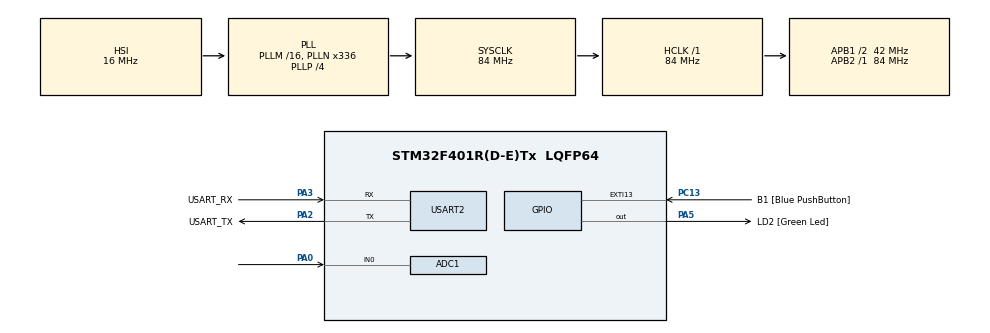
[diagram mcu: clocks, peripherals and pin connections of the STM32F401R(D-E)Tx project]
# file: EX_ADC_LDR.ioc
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ADC1.Channel-0\#ChannelRegularConversion=ADC_CHANNEL_0
ADC1.DMAContinuousRequests=ENABLE
ADC1.ExternalTrigConv=ADC_EXTERNALTRIGCONV_T2_TRGO
ADC1.NbrOfConversionFlag=1
ADC1.Rank-0\#ChannelRegularConversion=1
ADC1.SamplingTime-0\#ChannelRegularConversion=ADC_SAMPLETIME_480CYCLES
ADC1.master=1
Dma.ADC1.0.Direction=DMA_PERIPH_TO_MEMORY
Dma.ADC1.0.FIFOMode=DMA_FIFOMODE_DISABLE
Dma.ADC1.0.Instance=DMA2_Stream0
Dma.ADC1.0.MemDataAlignment=DMA_MDATAALIGN_WORD
Dma.ADC1.0.MemInc=DMA_MINC_ENABLE
Dma.ADC1.0.Mode=DMA_CIRCULAR
Dma.ADC1.0.PeriphDataAlignment=DMA_PDATAALIGN_WORD
Dma.ADC1.0.PeriphInc=DMA_PINC_DISABLE
Dma.ADC1.0.Priority=DMA_PRIORITY_LOW
Dma.Request0=ADC1
Mcu.Family=STM32F4
Mcu.Name=STM32F401R(D-E)Tx
Mcu.Package=LQFP64
NVIC.ADC_IRQn=true\:0\:0\:false\:false\:true\:true\:true
NVIC.DMA2_Stream0_IRQn=true\:0\:0\:false\:false\:true\:false\:true
NVIC.PriorityGroup=NVIC_PRIORITYGROUP_0
PA0-WKUP.Signal=ADCx_IN0
PA13.GPIO_Label=TMS
PA13.Mode=Serial_Wire
PA13.Signal=SYS_JTMS-SWDIO
PA14.GPIO_Label=TCK
PA14.Mode=Serial_Wire
PA14.Signal=SYS_JTCK-SWCLK
PA2.GPIO_Label=USART_TX
PA2.GPIO_Mode=GPIO_MODE_AF_PP
PA2.GPIO_PuPd=GPIO_NOPULL
PA2.GPIO_Speed=GPIO_SPEED_FREQ_LOW
PA2.Mode=Asynchronous
PA2.Signal=USART2_TX
PA3.GPIO_Label=USART_RX
PA3.GPIO_Mode=GPIO_MODE_AF_PP
PA3.GPIO_PuPd=GPIO_NOPULL
PA3.GPIO_Speed=GPIO_SPEED_FREQ_LOW
PA3.Mode=Asynchronous
PA3.Signal=USART2_RX
PA5.GPIO_Label=LD2 [Green Led]
PA5.GPIO_Mode=GPIO_MODE_OUTPUT_PP
PA5.GPIO_PuPd=GPIO_NOPULL
PA5.GPIO_Speed=GPIO_SPEED_FREQ_LOW
PA5.Signal=GPIO_Output
PB3.GPIO_Label=SWO
PB3.Signal=SYS_JTDO-SWO
PC13-ANTI_TAMP.GPIO_Label=B1 [Blue PushButton]
PC13-ANTI_TAMP.GPIO_ModeDefaultEXTI=GPIO_MODE_IT_FALLING
PC13-ANTI_TAMP.GPIO_PuPd=GPIO_NOPULL
PC13-ANTI_TAMP.Signal=GPXTI13
PC14-OSC32_IN.Mode=LSE-External-Oscillator
PC14-OSC32_IN.Signal=RCC_OSC32_IN
PC15-OSC32_OUT.Mode=LSE-External-Oscillator
PC15-OSC32_OUT.Signal=RCC_OSC32_OUT
PH0\ -\ OSC_IN.Mode=HSE-External-Clock-Source
PH0\ -\ OSC_IN.Signal=RCC_OSC_IN
PH1\ -\ OSC_OUT.Mode=HSE-External-Clock-Source
PH1\ -\ OSC_OUT.Signal=RCC_OSC_OUT
ProjectManager.HeapSize=0x200
ProjectManager.StackSize=0x400
ProjectManager.TargetToolchain=STM32CubeIDE
RCC.48MHZClocksFreq_Value=48000000
RCC.AHBFreq_Value=84000000
RCC.APB1CLKDivider=RCC_HCLK_DIV2
RCC.APB1Freq_Value=42000000
RCC.APB1TimFreq_Value=84000000
RCC.APB2Freq_Value=84000000
RCC.APB2TimFreq_Value=84000000
RCC.CortexFreq_Value=84000000
RCC.HCLKFreq_Value=84000000
RCC.HSE_VALUE=8000000
RCC.HSI_VALUE=16000000
RCC.PLLN=336
RCC.PLLP=RCC_PLLP_DIV4
RCC.PLLQ=7
RCC.SYSCLKFreq_VALUE=84000000
RCC.SYSCLKSource=RCC_SYSCLKSOURCE_PLLCLK
RCC.VCOOutputFreq_Value=336000000
SH.ADCx_IN0.0=ADC1_IN0,IN0
TIM2.Period=10-1
TIM2.Prescaler=8400-1
TIM2.TIM_MasterOutputTrigger=TIM_TRGO_UPDATE
USART2.VirtualMode=VM_ASYNC
VP_TIM2_VS_ClockSourceINT.Mode=Internal
board=NUCLEO-F401RE

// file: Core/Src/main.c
/* USER CODE BEGIN Header */
/**
  ******************************************************************************
  * @file           : main.c
  * @brief          : Main program body
  ******************************************************************************
  * @attention
  *
  * Copyright (c) 2022 STMicroelectronics.
  * All rights reserved.
  *
  * This software is licensed under terms that can be found in the LICENSE file
  * in the root directory of this software component.
  * If no LICENSE file comes with this software, it is provided AS-IS.
  *
  ******************************************************************************
  */
/* USER CODE END Header */
#include "main.h"

ADC_HandleTypeDef hadc1;
DMA_HandleTypeDef hdma_adc1;

TIM_HandleTypeDef htim2;

UART_HandleTypeDef huart2;

void SystemClock_Config(void);
static void MX_GPIO_Init(void);
static void MX_USART2_UART_Init(void);
static void MX_DMA_Init(void);
static void MX_ADC1_Init(void);
static void MX_TIM2_Init(void);

/* USER CODE BEGIN 0 */
uint32_t values[2000];

void HAL_ADC_ConvCpltCallback(ADC_HandleTypeDef* hadc)
{

	uint32_t avg = 0;

	for(int i = 0; i < 1000; i++)
		avg += values[i+1000];

	float voltage = (avg/1000.0)*3.3/4096.0;
	float LDR = (voltage*100000)/(3.3-voltage);
	float lux = pow((100000/LDR), 1.25);
	char string[64];

	int length = snprintf(string, sizeof(string), "LDR: %.3f Ohm LUX: %.3f lux\r\n", LDR, 10*lux);
	HAL_UART_Transmit(&huart2, string, length,200);
}

void HAL_ADC_ConvHalfCpltCallback(ADC_HandleTypeDef* hadc){
	uint32_t avg = 0;

	for(int i = 0; i < 1000; i++)
		avg += values[i];

	float voltage = (avg/1000.0)*3.3/4096.0;
	float LDR = (voltage*100000)/(3.3-voltage);
	float lux = pow((100000/LDR), 1.25);
	char string[64];

	int length = snprintf(string, sizeof(string), "LDR: %.3f Ohm LUX: %.3f lux\r\n", LDR, 10*lux);
	HAL_UART_Transmit(&huart2, string, length,200);
}
/* USER CODE END 0 */

int main(void)
{

  /* MCU Configuration--------------------------------------------------------*/

  /* Reset of all peripherals, Initializes the Flash interface and the Systick. */
  HAL_Init();

  /* Configure the system clock */
  SystemClock_Config();

  /* Initialize all configured peripherals */
  MX_GPIO_Init();
  MX_USART2_UART_Init();
  MX_DMA_Init();
  MX_ADC1_Init();
  MX_TIM2_Init();
  /* USER CODE BEGIN 2 */

  //setting DMA in circular mode in ADC configuration, enabling continuous sampling
  HAL_ADC_Start_DMA(&hadc1, values, 2000);
  HAL_TIM_Base_Start(&htim2);
  /* USER CODE END 2 */

  /* Infinite loop */
  while (1)
  {

  }
}

void SystemClock_Config(void)
{
  RCC_OscInitTypeDef RCC_OscInitStruct = {0};
  RCC_ClkInitTypeDef RCC_ClkInitStruct = {0};

  /** Configure the main internal regulator output voltage
  */
  __HAL_RCC_PWR_CLK_ENABLE();
  __HAL_PWR_VOLTAGESCALING_CONFIG(PWR_REGULATOR_VOLTAGE_SCALE2);
  /** Initializes the RCC Oscillators according to the specified parameters
  * in the RCC_OscInitTypeDef structure.
  */
  RCC_OscInitStruct.OscillatorType = RCC_OSCILLATORTYPE_HSI;
  RCC_OscInitStruct.HSIState = RCC_HSI_ON;
  RCC_OscInitStruct.HSICalibrationValue = RCC_HSICALIBRATION_DEFAULT;
  RCC_OscInitStruct.PLL.PLLState = RCC_PLL_ON;
  RCC_OscInitStruct.PLL.PLLSource = RCC_PLLSOURCE_HSI;
  RCC_OscInitStruct.PLL.PLLM = 16;
  RCC_OscInitStruct.PLL.PLLN = 336;
  RCC_OscInitStruct.PLL.PLLP = RCC_PLLP_DIV4;
  RCC_OscInitStruct.PLL.PLLQ = 7;
  if (HAL_RCC_OscConfig(&RCC_OscInitStruct) != HAL_OK)
  {
    Error_Handler();
  }
  /** Initializes the CPU, AHB and APB buses clocks
  */
  RCC_ClkInitStruct.ClockType = RCC_CLOCKTYPE_HCLK|RCC_CLOCKTYPE_SYSCLK
                              |RCC_CLOCKTYPE_PCLK1|RCC_CLOCKTYPE_PCLK2;
  RCC_ClkInitStruct.SYSCLKSource = RCC_SYSCLKSOURCE_PLLCLK;
  RCC_ClkInitStruct.AHBCLKDivider = RCC_SYSCLK_DIV1;
  RCC_ClkInitStruct.APB1CLKDivider = RCC_HCLK_DIV2;
  RCC_ClkInitStruct.APB2CLKDivider = RCC_HCLK_DIV1;

  if (HAL_RCC_ClockConfig(&RCC_ClkInitStruct, FLASH_LATENCY_2) != HAL_OK)
  {
    Error_Handler();
  }
}

static void MX_ADC1_Init(void)
{

  ADC_ChannelConfTypeDef sConfig = {0};

  /** Configure the global features of the ADC (Clock, Resolution, Data Alignment and number of conversion)
  */
  hadc1.Instance = ADC1;
  hadc1.Init.ClockPrescaler = ADC_CLOCK_SYNC_PCLK_DIV4;
  hadc1.Init.Resolution = ADC_RESOLUTION_12B;
  hadc1.Init.ScanConvMode = DISABLE;
  hadc1.Init.ContinuousConvMode = DISABLE;
  hadc1.Init.DiscontinuousConvMode = DISABLE;
  hadc1.Init.ExternalTrigConvEdge = ADC_EXTERNALTRIGCONVEDGE_RISING;
  hadc1.Init.ExternalTrigConv = ADC_EXTERNALTRIGCONV_T2_TRGO;
  hadc1.Init.DataAlign = ADC_DATAALIGN_RIGHT;
  hadc1.Init.NbrOfConversion = 1;
  hadc1.Init.DMAContinuousRequests = ENABLE;
  hadc1.Init.EOCSelection = ADC_EOC_SINGLE_CONV;
  if (HAL_ADC_Init(&hadc1) != HAL_OK)
  {
    Error_Handler();
  }
  /** Configure for the selected ADC regular channel its corresponding rank in the sequencer and its sample time.
  */
  sConfig.Channel = ADC_CHANNEL_0;
  sConfig.Rank = 1;
  sConfig.SamplingTime = ADC_SAMPLETIME_480CYCLES;
  if (HAL_ADC_ConfigChannel(&hadc1, &sConfig) != HAL_OK)
  {
    Error_Handler();
  }

}

static void MX_TIM2_Init(void)
{

  TIM_ClockConfigTypeDef sClockSourceConfig = {0};
  TIM_MasterConfigTypeDef sMasterConfig = {0};

  htim2.Instance = TIM2;
  htim2.Init.Prescaler = 8400-1;
  htim2.Init.CounterMode = TIM_COUNTERMODE_UP;
  htim2.Init.Period = 10-1;
  htim2.Init.ClockDivision = TIM_CLOCKDIVISION_DIV1;
  htim2.Init.AutoReloadPreload = TIM_AUTORELOAD_PRELOAD_DISABLE;
  if (HAL_TIM_Base_Init(&htim2) != HAL_OK)
  {
    Error_Handler();
  }
  sClockSourceConfig.ClockSource = TIM_CLOCKSOURCE_INTERNAL;
  if (HAL_TIM_ConfigClockSource(&htim2, &sClockSourceConfig) != HAL_OK)
  {
    Error_Handler();
  }
  sMasterConfig.MasterOutputTrigger = TIM_TRGO_UPDATE;
  sMasterConfig.MasterSlaveMode = TIM_MASTERSLAVEMODE_DISABLE;
  if (HAL_TIMEx_MasterConfigSynchronization(&htim2, &sMasterConfig) != HAL_OK)
  {
    Error_Handler();
  }

}

static void MX_USART2_UART_Init(void)
{

  huart2.Instance = USART2;
  huart2.Init.BaudRate = 115200;
  huart2.Init.WordLength = UART_WORDLENGTH_8B;
  huart2.Init.StopBits = UART_STOPBITS_1;
  huart2.Init.Parity = UART_PARITY_NONE;
  huart2.Init.Mode = UART_MODE_TX_RX;
  huart2.Init.HwFlowCtl = UART_HWCONTROL_NONE;
  huart2.Init.OverSampling = UART_OVERSAMPLING_16;
  if (HAL_UART_Init(&huart2) != HAL_OK)
  {
    Error_Handler();
  }

}

static void MX_DMA_Init(void)
{

  /* DMA controller clock enable */
  __HAL_RCC_DMA2_CLK_ENABLE();

  /* DMA interrupt init */
  /* DMA2_Stream0_IRQn interrupt configuration */
  HAL_NVIC_SetPriority(DMA2_Stream0_IRQn, 0, 0);
  HAL_NVIC_EnableIRQ(DMA2_Stream0_IRQn);

}

static void MX_GPIO_Init(void)
{
  GPIO_InitTypeDef GPIO_InitStruct = {0};

  /* GPIO Ports Clock Enable */
  __HAL_RCC_GPIOC_CLK_ENABLE();
  __HAL_RCC_GPIOH_CLK_ENABLE();
  __HAL_RCC_GPIOA_CLK_ENABLE();
  __HAL_RCC_GPIOB_CLK_ENABLE();

  /*Configure GPIO pin Output Level */
  HAL_GPIO_WritePin(LD2_GPIO_Port, LD2_Pin, GPIO_PIN_RESET);

  /*Configure GPIO pin : B1_Pin */
  GPIO_InitStruct.Pin = B1_Pin;
  GPIO_InitStruct.Mode = GPIO_MODE_IT_FALLING;
  GPIO_InitStruct.Pull = GPIO_NOPULL;
  HAL_GPIO_Init(B1_GPIO_Port, &GPIO_InitStruct);

  /*Configure GPIO pin : LD2_Pin */
  GPIO_InitStruct.Pin = LD2_Pin;
  GPIO_InitStruct.Mode = GPIO_MODE_OUTPUT_PP;
  GPIO_InitStruct.Pull = GPIO_NOPULL;
  GPIO_InitStruct.Speed = GPIO_SPEED_FREQ_LOW;
  HAL_GPIO_Init(LD2_GPIO_Port, &GPIO_InitStruct);

}

void Error_Handler(void)
{
  __disable_irq();
  while (1)
  {
  }
}
